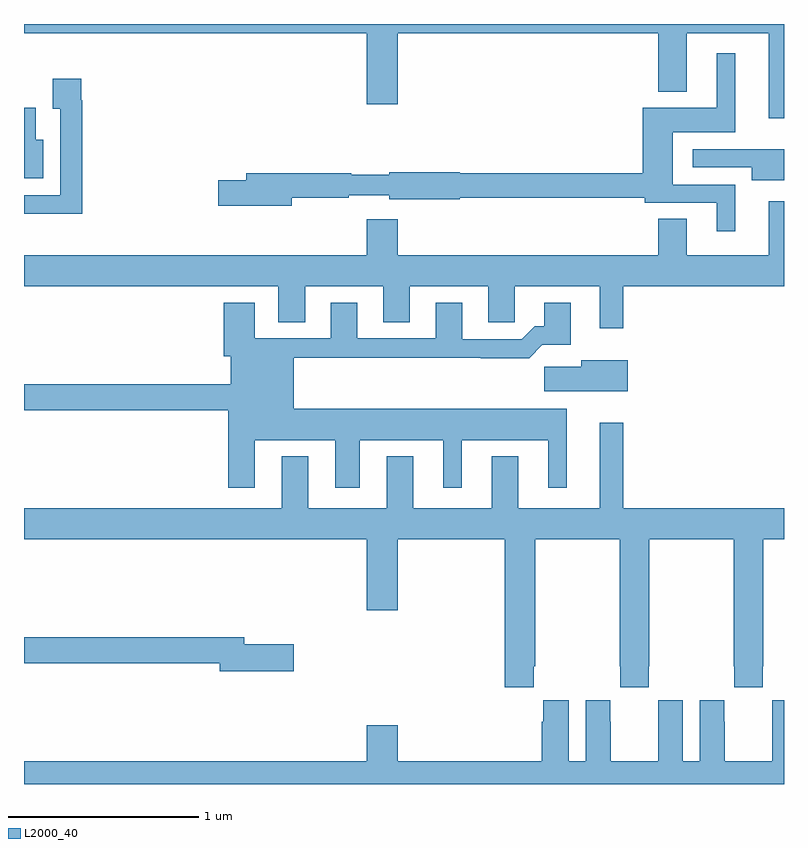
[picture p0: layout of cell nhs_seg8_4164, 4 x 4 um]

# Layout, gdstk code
import gdstk
lib = gdstk.Library(unit=1e-6, precision=1e-09)
def P(c, l, *ps):  # polygons
    for p in ps: c.add(gdstk.Polygon(p, *l))
L2000_40 = (2000, 40)

nhs_seg8_4164 = lib.new_cell('nhs_seg8_4164')
P(nhs_seg8_4164, L2000_40, [(371,1097.9),(367,1097.9),(367,1097.852),(368.804,1097.852),(368.804,1097.478),(368.968,1097.478),(368.968,1097.852),(370.337,1097.852),(370.337,1097.543),(370.489,1097.543),(370.489,1097.852),(370.919,1097.852),(370.919,1097.403),(371,1097.403)],
  [(370.744,1097.055),(370.414,1097.055),(370.414,1097.33),(370.744,1097.33),(370.744,1097.746),(370.646,1097.746),(370.646,1097.458),(370.256,1097.458),(370.256,1097.114),(369.294,1097.114),(369.294,1097.12),(368.922,1097.12),(368.922,1097.107),(368.722,1097.107),(368.722,1097.114),(368.171,1097.114),(368.171,1097.078),(368.022,1097.078),(368.022,1096.943),(368.41,1096.943),(368.41,1096.986),(368.708,1096.986),(368.708,1096.998),(368.922,1096.998),(368.922,1096.978),(369.294,1096.978),(369.294,1096.986),(370.268,1096.986),(370.268,1096.959),(370.646,1096.959),(370.646,1096.809),(370.744,1096.809)],
  [(367.307,1097.498),(367.3,1097.498),(367.3,1097.611),(367.151,1097.611),(367.151,1097.455),(367.191,1097.455),(367.191,1096.998),(367,1096.998),(367,1096.902),(367.015,1096.902),(367.015,1096.901),(367.307,1096.901)],
  [(367.102,1097.29),(367.063,1097.29),(367.063,1097.458),(367,1097.458),(367,1097.087),(367.102,1097.087)],
  [(371,1097.242),(370.833,1097.242),(370.833,1097.241),(370.521,1097.241),(370.521,1097.145),(370.829,1097.145),(370.829,1097.077),(371,1097.077)],
  [(370.153,1096.52),(371,1096.52),(371,1096.966),(370.919,1096.966),(370.919,1096.684),(370.489,1096.684),(370.489,1096.874),(370.337,1096.874),(370.337,1096.684),(368.968,1096.684),(368.968,1096.873),(368.804,1096.873),(368.804,1096.684),(367,1096.684),(367,1096.52),(368.339,1096.52),(368.339,1096.33),(368.479,1096.33),(368.479,1096.52),(368.891,1096.52),(368.891,1096.33),(369.031,1096.33),(369.031,1096.52),(369.443,1096.52),(369.443,1096.33),(369.582,1096.33),(369.582,1096.52),(370.031,1096.52),(370.031,1096.299),(370.153,1096.299)],
  [(368.215,1095.71),(368.639,1095.71),(368.639,1095.459),(368.767,1095.459),(368.767,1095.71),(369.206,1095.71),(369.206,1095.459),(369.304,1095.459),(369.304,1095.71),(369.758,1095.71),(369.758,1095.459),(369.856,1095.459),(369.856,1095.874),(368.419,1095.874),(368.419,1096.144),(369.403,1096.144),(369.403,1096.142),(369.659,1096.142),(369.728,1096.211),(369.877,1096.211),(369.877,1096.432),(369.737,1096.432),(369.737,1096.309),(369.688,1096.309),(369.621,1096.242),(369.307,1096.242),(369.307,1096.432),(369.167,1096.432),(369.167,1096.245),(368.755,1096.245),(368.755,1096.432),(368.615,1096.432),(368.615,1096.245),(368.215,1096.245),(368.215,1096.432),(368.051,1096.432),(368.051,1096.152),(368.087,1096.152),(368.087,1096.004),(367,1096.004),(367,1095.868),(368.075,1095.868),(368.075,1095.459),(368.215,1095.459)],
  [(370.177,1096.129),(369.932,1096.129),(369.932,1096.097),(369.738,1096.097),(369.738,1095.968),(370.177,1095.968)],
  [(369.683,1094.521),(369.69,1094.521),(369.69,1095.188),(370.135,1095.188),(370.135,1094.521),(370.137,1094.521),(370.137,1094.409),(370.287,1094.409),(370.287,1094.521),(370.29,1094.521),(370.29,1095.188),(370.735,1095.188),(370.735,1094.521),(370.737,1094.521),(370.737,1094.409),(370.887,1094.409),(370.887,1094.521),(370.89,1094.521),(370.89,1095.188),(371,1095.188),(371,1095.352),(370.153,1095.352),(370.153,1095.802),(370.031,1095.802),(370.031,1095.352),(369.601,1095.352),(369.601,1095.625),(369.461,1095.625),(369.461,1095.352),(369.049,1095.352),(369.049,1095.625),(368.909,1095.625),(368.909,1095.352),(368.497,1095.352),(368.497,1095.625),(368.357,1095.625),(368.357,1095.352),(367,1095.352),(367,1095.188),(368.804,1095.188),(368.804,1094.814),(368.968,1094.814),(368.968,1095.188),(369.53,1095.188),(369.53,1094.409),(369.683,1094.409)],
  [(368.419,1094.636),(368.158,1094.636),(368.158,1094.672),(367,1094.672),(367,1094.536),(368.03,1094.536),(368.03,1094.494),(368.419,1094.494)],
  [(367,1093.9),(371,1093.9),(371,1094.341),(370.938,1094.341),(370.938,1094.228),(370.937,1094.228),(370.937,1094.02),(370.687,1094.02),(370.687,1094.228),(370.686,1094.228),(370.686,1094.341),(370.556,1094.341),(370.556,1094.02),(370.468,1094.02),(370.468,1094.341),(370.338,1094.341),(370.338,1094.228),(370.337,1094.228),(370.337,1094.02),(370.087,1094.02),(370.087,1094.228),(370.086,1094.228),(370.086,1094.341),(369.956,1094.341),(369.956,1094.02),(369.868,1094.02),(369.868,1094.341),(369.734,1094.341),(369.734,1094.228),(369.725,1094.228),(369.725,1094.02),(368.968,1094.02),(368.968,1094.209),(368.804,1094.209),(368.804,1094.02),(367,1094.02)])

lib.write_gds('nhs_seg8_4164.gds')
